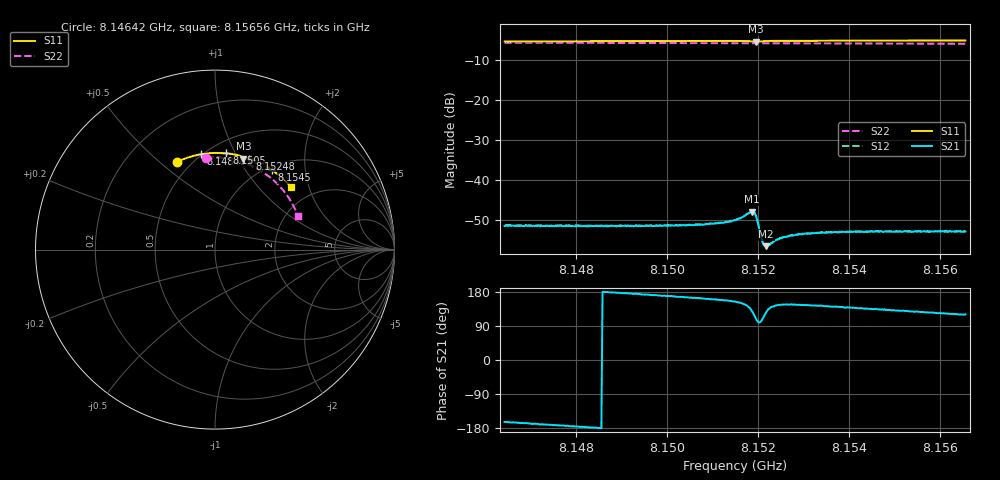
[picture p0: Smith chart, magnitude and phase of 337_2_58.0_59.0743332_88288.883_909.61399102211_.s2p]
#  HZ  S  RI  R  50.00
! Rohde & Schwarz Vector Network Analyzer
! Rohde-Schwarz,ZNB20-2Port,1311601062101988,3.16
! Created: UTC 3/21/2024, 1:05:21 AM
! freq[Hz]  re:S11  im:S11  re:S21  im:S21  re:S12  im:S12  re:S22  im:S22
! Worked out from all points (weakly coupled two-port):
!   401 points, 8.14642 GHz to 8.15656 GHz, reference 50 ohm
!   highest |S21| = -48.06 dB at 8.15187 GHz (marker M1); lowest = -56.7 dB at 8.15217 GHz (marker M2)
!   lowest |S11| = -5.5 dB at 8.15195 GHz (marker M3), VSWR 3.26, Z = 37.2 + j52.4 ohm
!   |S11| at or under -10 dB: nowhere
!   |S22| runs from -6.0 to -5.8 dB; largest |S21 - S12| = 0.00013
!   S11 on the Smith chart (normalised r, x): 8.14642 GHz: 0.42, +0.57; 8.14848 GHz: 0.49, +0.74; 8.1505 GHz: 0.61, +0.92; 8.15248 GHz: 0.78, +1.11; 8.1545 GHz: 1.06, +1.34; 8.15656 GHz: 1.54, +1.54
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8.146425e9  -0.2139 0.4879  -0.00252 -0.000742  -0.00256 -0.000713  -0.0477 0.5118
8.148122e9  -0.1019 0.5262  -0.00261 -0.000189  -0.00268 -0.000123  0.0632 0.5083
8.148476e9  -0.0775 0.5309  -0.00261 -2.43e-05  -0.00264 3.5e-05  0.0861 0.5045
8.149819e9  0.0156 0.5387  -0.00261 0.00045  -0.0026 0.000514  0.1695 0.4809
8.150502e9  0.0632 0.5363  -0.00261 0.000734  -0.0026 0.000761  0.21 0.4636
8.151212e9  0.1127 0.5291  -0.00268 0.00107  -0.00271 0.00114  0.2501 0.4423
8.15149e9  0.1325 0.5244  -0.00281 0.00136  -0.00279 0.00137  0.2652 0.4327
8.15187e9  0.1583 0.5099  -0.00241 0.00313  -0.00245 0.00319  0.2849 0.4189
8.151921e9  0.1583 0.5071  -0.00168 0.00342  -0.00165 0.00347  0.2873 0.4169
8.151946e9  0.1579 0.5064  -0.00124 0.00335  -0.00119 0.00338  0.2887 0.416
8.151972e9  0.1574 0.5067  -0.000801 0.00313  -0.000804 0.00318  0.29 0.4151
8.152073e9  0.1609 0.5107  -0.000438 0.00178  -0.000445 0.00178  0.2951 0.4114
8.152098e9  0.163 0.5114  -0.000537 0.00156  -0.000517 0.00154  0.2964 0.4106
8.152123e9  0.1649 0.5117  -0.000638 0.00138  -0.000628 0.0014  0.2977 0.4096
8.152174e9  0.1693 0.5119  -0.000857 0.00119  -0.000847 0.00122  0.3004 0.4078
8.152225e9  0.1732 0.5117  -0.00105 0.00108  -0.00106 0.0011  0.3029 0.4057
8.152478e9  0.1922 0.5071  -0.00151 0.00105  -0.00152 0.00107  0.3154 0.3957
8.152883e9  0.2194 0.4971  -0.00173 0.00119  -0.00169 0.00117  0.3346 0.3787
8.153187e9  0.239 0.4885  -0.00172 0.00126  -0.00172 0.0013  0.3485 0.3653
8.154504e9  0.3182 0.4437  -0.00158 0.00163  -0.00159 0.00164  0.4017 0.3022
8.154884e9  0.3395 0.4282  -0.00151 0.00166  -0.00149 0.00171  0.4148 0.2823
8.156556e9  0.4229 0.3493  -0.00114 0.00193  -0.00106 0.00194  0.4613 0.1899
